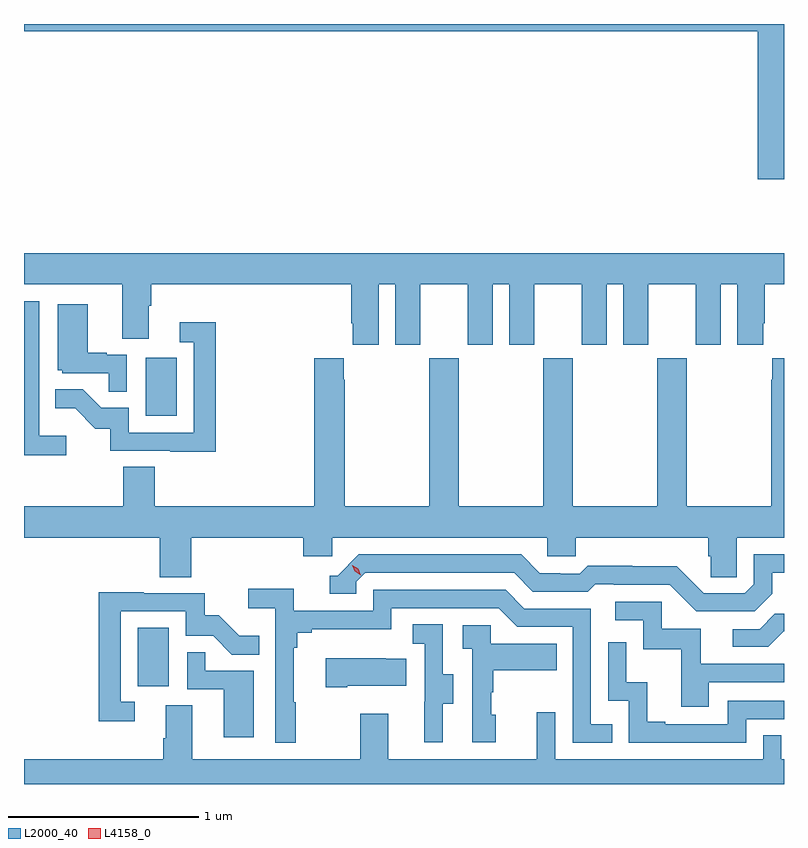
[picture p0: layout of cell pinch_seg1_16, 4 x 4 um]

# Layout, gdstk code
import gdstk
lib = gdstk.Library(unit=1e-6, precision=1e-09)
def R(c, l, rs):  # rectangles x0, y0, x1, y1
    for r in rs: c.add(gdstk.rectangle(r[:2], r[2:], *l))
def P(c, l, *ps):  # polygons
    for p in ps: c.add(gdstk.Polygon(p, *l))
L2000_40 = (2000, 40)
L4158_0 = (4158, 0)

pinch_seg1_16 = lib.new_cell('pinch_seg1_16')
R(pinch_seg1_16, L2000_40, [(1116.59,580.254,1116.754,580.561), (1116.632,581.676,1116.796,581.983)])
P(pinch_seg1_16, L2000_40, [(1119.992,583.739),(1115.992,583.739),(1115.992,583.7),(1119.854,583.7),(1119.854,582.921),(1119.992,582.921)],
  [(1117.858,582.368),(1117.946,582.368),(1117.946,582.051),(1118.077,582.051),(1118.077,582.368),(1118.327,582.368),(1118.327,582.051),(1118.458,582.051),(1118.458,582.368),(1118.546,582.368),(1118.546,582.051),(1118.677,582.051),(1118.677,582.368),(1118.927,582.368),(1118.927,582.051),(1119.058,582.051),(1119.058,582.368),(1119.146,582.368),(1119.146,582.051),(1119.277,582.051),(1119.277,582.368),(1119.527,582.368),(1119.527,582.051),(1119.658,582.051),(1119.658,582.368),(1119.746,582.368),(1119.746,582.051),(1119.883,582.051),(1119.883,582.163),(1119.89,582.163),(1119.89,582.368),(1119.992,582.368),(1119.992,582.532),(1115.992,582.532),(1115.992,582.368),(1116.509,582.368),(1116.509,582.082),(1116.649,582.082),(1116.649,582.256),(1116.662,582.256),(1116.662,582.368),(1117.715,582.368),(1117.715,582.163),(1117.721,582.163),(1117.721,582.051),(1117.858,582.051)],
  [(1116.214,581.572),(1116.072,581.572),(1116.072,582.28),(1115.992,582.28),(1115.992,581.47),(1116.214,581.47)],
  [(1116.534,581.997),(1116.428,581.997),(1116.428,582.01),(1116.328,582.01),(1116.328,582.265),(1116.17,582.265),(1116.17,581.916),(1116.192,581.916),(1116.192,581.901),(1116.439,581.901),(1116.439,581.803),(1116.534,581.803)],
  [(1117.001,582.169),(1116.813,582.169),(1116.813,582.063),(1116.885,582.063),(1116.885,581.589),(1116.543,581.589),(1116.543,581.718),(1116.399,581.718),(1116.301,581.816),(1116.157,581.816),(1116.157,581.717),(1116.261,581.717),(1116.368,581.61),(1116.445,581.61),(1116.445,581.493),(1116.763,581.493),(1116.763,581.488),(1117.001,581.488)],
  [(1116.872,581.036),(1117.463,581.036),(1117.463,580.938),(1117.614,580.938),(1117.614,581.036),(1118.745,581.036),(1118.745,580.938),(1118.895,580.938),(1118.895,581.036),(1119.593,581.036),(1119.593,580.938),(1119.607,580.938),(1119.607,580.828),(1119.744,580.828),(1119.744,581.036),(1119.992,581.036),(1119.992,581.98),(1119.929,581.98),(1119.929,581.867),(1119.925,581.867),(1119.925,581.2),(1119.48,581.2),(1119.48,581.98),(1119.325,581.98),(1119.325,581.2),(1118.88,581.2),(1118.88,581.98),(1118.725,581.98),(1118.725,581.2),(1118.28,581.2),(1118.28,581.98),(1118.125,581.98),(1118.125,581.2),(1117.68,581.2),(1117.68,581.867),(1117.675,581.867),(1117.675,581.98),(1117.52,581.98),(1117.52,581.2),(1116.68,581.2),(1116.68,581.408),(1116.515,581.408),(1116.515,581.2),(1115.992,581.2),(1115.992,581.036),(1116.707,581.036),(1116.707,580.828),(1116.872,580.828)],
  [(1119.931,580.741),(1119.931,580.851),(1119.992,580.851),(1119.992,580.947),(1119.834,580.947),(1119.834,580.791),(1119.786,580.743),(1119.57,580.743),(1119.428,580.885),(1119.192,580.885),(1119.192,580.888),(1118.959,580.888),(1118.917,580.845),(1118.814,580.845),(1118.814,580.848),(1118.707,580.848),(1118.608,580.947),(1117.755,580.947),(1117.644,580.836),(1117.601,580.836),(1117.601,580.74),(1117.74,580.74),(1117.74,580.803),(1117.788,580.851),(1118.571,580.851),(1118.67,580.752),(1118.959,580.752),(1118.998,580.791),(1119.097,580.791),(1119.097,580.788),(1119.39,580.788),(1119.531,580.647),(1119.837,580.647)],
  [(1117.423,580.169),(1117.411,580.169),(1117.411,580.457),(1117.43,580.457),(1117.43,580.534),(1117.507,580.534),(1117.507,580.553),(1117.926,580.553),(1117.926,580.665),(1118.49,580.665),(1118.589,580.566),(1118.88,580.566),(1118.88,579.957),(1119.089,579.957),(1119.089,580.053),(1118.976,580.053),(1118.976,580.662),(1118.626,580.662),(1118.527,580.761),(1117.83,580.761),(1117.83,580.65),(1117.412,580.65),(1117.412,580.766),(1117.173,580.766),(1117.173,580.664),(1117.314,580.664),(1117.314,579.957),(1117.423,579.957)],
  [(1116.574,580.173),(1116.501,580.173),(1116.501,580.647),(1116.843,580.647),(1116.843,580.518),(1116.987,580.518),(1117.085,580.42),(1117.229,580.42),(1117.229,580.519),(1117.125,580.519),(1117.018,580.626),(1116.942,580.626),(1116.942,580.743),(1116.623,580.743),(1116.623,580.748),(1116.385,580.748),(1116.385,580.068),(1116.574,580.068)],
  [(1119.595,580.275),(1119.992,580.275),(1119.992,580.371),(1119.553,580.371),(1119.553,580.557),(1119.348,580.557),(1119.348,580.698),(1119.105,580.698),(1119.105,580.602),(1119.252,580.602),(1119.252,580.449),(1119.451,580.449),(1119.451,580.146),(1119.595,580.146)],
  [(1119.991,580.542),(1119.992,580.542),(1119.992,580.634),(1119.944,580.634),(1119.864,580.554),(1119.723,580.554),(1119.723,580.461),(1119.91,580.461)],
  [(1118.197,580.162),(1118.251,580.162),(1118.251,580.317),(1118.196,580.317),(1118.196,580.58),(1118.037,580.58),(1118.037,580.477),(1118.1,580.477),(1118.1,580.173),(1118.099,580.173),(1118.099,579.96),(1118.197,579.96)],
  [(1118.476,580.104),(1118.451,580.104),(1118.451,580.223),(1118.461,580.223),(1118.461,580.337),(1118.795,580.337),(1118.795,580.477),(1118.448,580.477),(1118.448,580.575),(1118.301,580.575),(1118.301,580.451),(1118.352,580.451),(1118.352,579.96),(1118.476,579.96)],
  [(1119.792,580.08),(1119.992,580.08),(1119.992,580.176),(1119.696,580.176),(1119.696,580.053),(1119.367,580.053),(1119.367,580.066),(1119.272,580.066),(1119.272,580.274),(1119.162,580.274),(1119.162,580.486),(1119.066,580.486),(1119.066,580.176),(1119.174,580.176),(1119.174,579.957),(1119.792,579.957)],
  [(1117.201,580.335),(1116.947,580.335),(1116.947,580.433),(1116.852,580.433),(1116.852,580.239),(1117.043,580.239),(1117.043,579.984),(1117.201,579.984)],
  [(1117.693,580.256),(1118.003,580.256),(1118.003,580.399),(1117.895,580.399),(1117.895,580.402),(1117.581,580.402),(1117.581,580.249),(1117.693,580.249)],
  [(1119.992,579.868),(1119.978,579.868),(1119.978,579.995),(1119.882,579.995),(1119.882,579.868),(1118.787,579.868),(1118.787,580.117),(1118.69,580.117),(1118.69,579.868),(1117.909,579.868),(1117.909,580.108),(1117.762,580.108),(1117.762,579.868),(1116.877,579.868),(1116.877,580.154),(1116.737,580.154),(1116.737,579.98),(1116.725,579.98),(1116.725,579.868),(1115.992,579.868),(1115.992,579.739),(1119.992,579.739)])
P(pinch_seg1_16, L4158_0, [(1117.765,580.838),(1117.734,580.858),(1117.719,580.891),(1117.719,580.891),(1117.719,580.891),(1117.75,580.871),(1117.765,580.838),(1117.765,580.838)])

lib.write_gds('pinch_seg1_16.gds')
